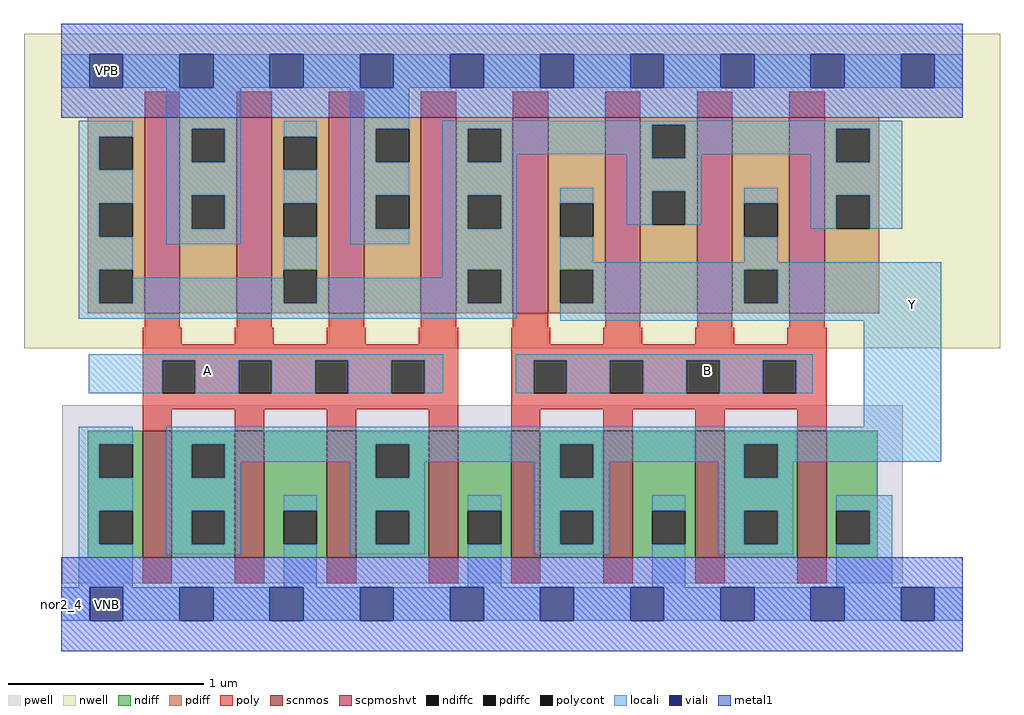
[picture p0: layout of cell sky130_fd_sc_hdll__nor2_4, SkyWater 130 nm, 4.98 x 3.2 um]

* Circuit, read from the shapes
.subckt sky130_fd_sc_hdll__nor2_4 A B VGND VNB VPB VPWR Y
XM1 Y A VGND VNB sky130_fd_pr__nfet_01v8 w=0.65 l=0.15 m=4
XM2 Y B VGND VNB sky130_fd_pr__nfet_01v8 w=0.65 l=0.15 m=4
XM3 VPWR A n1 VPB sky130_fd_pr__pfet_01v8_hvt w=1 l=0.18 m=4
XM4 Y B n1 VPB sky130_fd_pr__pfet_01v8_hvt w=1 l=0.18 m=4
.ends

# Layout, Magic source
magic
tech sky130A
magscale 1 2
<< nwell >>
rect -38 261 958 582
<< pwell >>
rect 1 21 859 203
rect 30 -17 64 21
<< scnmos >>
rect 83 47 113 177
rect 177 47 207 177
rect 271 47 301 177
rect 375 47 405 177
rect 459 47 489 177
rect 553 47 583 177
rect 647 47 677 177
rect 751 47 781 177
<< scpmoshvt >>
rect 85 297 121 497
rect 179 297 215 497
rect 273 297 309 497
rect 367 297 403 497
rect 461 297 497 497
rect 555 297 591 497
rect 649 297 685 497
rect 743 297 779 497
<< ndiff >>
rect 27 163 83 177
rect 27 129 39 163
rect 73 129 83 163
rect 27 95 83 129
rect 27 61 39 95
rect 73 61 83 95
rect 27 47 83 61
rect 113 163 177 177
rect 113 129 133 163
rect 167 129 177 163
rect 113 95 177 129
rect 113 61 133 95
rect 167 61 177 95
rect 113 47 177 61
rect 207 95 271 177
rect 207 61 227 95
rect 261 61 271 95
rect 207 47 271 61
rect 301 163 375 177
rect 301 129 321 163
rect 355 129 375 163
rect 301 95 375 129
rect 301 61 321 95
rect 355 61 375 95
rect 301 47 375 61
rect 405 95 459 177
rect 405 61 415 95
rect 449 61 459 95
rect 405 47 459 61
rect 489 163 553 177
rect 489 129 509 163
rect 543 129 553 163
rect 489 95 553 129
rect 489 61 509 95
rect 543 61 553 95
rect 489 47 553 61
rect 583 95 647 177
rect 583 61 603 95
rect 637 61 647 95
rect 583 47 647 61
rect 677 163 751 177
rect 677 129 697 163
rect 731 129 751 163
rect 677 95 751 129
rect 677 61 697 95
rect 731 61 751 95
rect 677 47 751 61
rect 781 95 833 177
rect 781 61 791 95
rect 825 61 833 95
rect 781 47 833 61
<< pdiff >>
rect 27 477 85 497
rect 27 443 39 477
rect 73 443 85 477
rect 27 409 85 443
rect 27 375 39 409
rect 73 375 85 409
rect 27 341 85 375
rect 27 307 39 341
rect 73 307 85 341
rect 27 297 85 307
rect 121 485 179 497
rect 121 451 133 485
rect 167 451 179 485
rect 121 417 179 451
rect 121 383 133 417
rect 167 383 179 417
rect 121 297 179 383
rect 215 477 273 497
rect 215 443 227 477
rect 261 443 273 477
rect 215 409 273 443
rect 215 375 227 409
rect 261 375 273 409
rect 215 341 273 375
rect 215 307 227 341
rect 261 307 273 341
rect 215 297 273 307
rect 309 485 367 497
rect 309 451 321 485
rect 355 451 367 485
rect 309 417 367 451
rect 309 383 321 417
rect 355 383 367 417
rect 309 297 367 383
rect 403 485 461 497
rect 403 451 415 485
rect 449 451 461 485
rect 403 417 461 451
rect 403 383 415 417
rect 449 383 461 417
rect 403 341 461 383
rect 403 307 415 341
rect 449 307 461 341
rect 403 297 461 307
rect 497 409 555 497
rect 497 375 509 409
rect 543 375 555 409
rect 497 341 555 375
rect 497 307 509 341
rect 543 307 555 341
rect 497 297 555 307
rect 591 489 649 497
rect 591 455 603 489
rect 637 455 649 489
rect 591 421 649 455
rect 591 387 603 421
rect 637 387 649 421
rect 591 297 649 387
rect 685 409 743 497
rect 685 375 697 409
rect 731 375 743 409
rect 685 341 743 375
rect 685 307 697 341
rect 731 307 743 341
rect 685 297 743 307
rect 779 485 835 497
rect 779 451 791 485
rect 825 451 835 485
rect 779 417 835 451
rect 779 383 791 417
rect 825 383 835 417
rect 779 297 835 383
<< ndiffc >>
rect 39 129 73 163
rect 39 61 73 95
rect 133 129 167 163
rect 133 61 167 95
rect 227 61 261 95
rect 321 129 355 163
rect 321 61 355 95
rect 415 61 449 95
rect 509 129 543 163
rect 509 61 543 95
rect 603 61 637 95
rect 697 129 731 163
rect 697 61 731 95
rect 791 61 825 95
<< pdiffc >>
rect 39 443 73 477
rect 39 375 73 409
rect 39 307 73 341
rect 133 451 167 485
rect 133 383 167 417
rect 227 443 261 477
rect 227 375 261 409
rect 227 307 261 341
rect 321 451 355 485
rect 321 383 355 417
rect 415 451 449 485
rect 415 383 449 417
rect 415 307 449 341
rect 509 375 543 409
rect 509 307 543 341
rect 603 455 637 489
rect 603 387 637 421
rect 697 375 731 409
rect 697 307 731 341
rect 791 451 825 485
rect 791 383 825 417
<< poly >>
rect 85 497 121 523
rect 179 497 215 523
rect 273 497 309 523
rect 367 497 403 523
rect 461 497 497 523
rect 555 497 591 523
rect 649 497 685 523
rect 743 497 779 523
rect 85 282 121 297
rect 179 282 215 297
rect 273 282 309 297
rect 367 282 403 297
rect 461 282 497 297
rect 555 282 591 297
rect 649 282 685 297
rect 743 282 779 297
rect 83 265 123 282
rect 177 265 217 282
rect 271 265 311 282
rect 365 265 405 282
rect 83 249 405 265
rect 83 215 103 249
rect 137 215 181 249
rect 215 215 259 249
rect 293 215 337 249
rect 371 215 405 249
rect 83 199 405 215
rect 83 177 113 199
rect 177 177 207 199
rect 271 177 301 199
rect 375 177 405 199
rect 459 265 499 282
rect 553 265 593 282
rect 647 265 687 282
rect 741 265 781 282
rect 459 249 781 265
rect 459 215 482 249
rect 516 215 560 249
rect 594 215 638 249
rect 672 215 716 249
rect 750 215 781 249
rect 459 199 781 215
rect 459 177 489 199
rect 553 177 583 199
rect 647 177 677 199
rect 751 177 781 199
rect 83 21 113 47
rect 177 21 207 47
rect 271 21 301 47
rect 375 21 405 47
rect 459 21 489 47
rect 553 21 583 47
rect 647 21 677 47
rect 751 21 781 47
<< polycont >>
rect 103 215 137 249
rect 181 215 215 249
rect 259 215 293 249
rect 337 215 371 249
rect 482 215 516 249
rect 560 215 594 249
rect 638 215 672 249
rect 716 215 750 249
<< locali >>
rect 0 527 29 561
rect 63 527 121 561
rect 155 527 213 561
rect 247 527 305 561
rect 339 527 397 561
rect 431 527 489 561
rect 523 527 581 561
rect 615 527 673 561
rect 707 527 765 561
rect 799 527 857 561
rect 891 527 920 561
rect 18 477 73 493
rect 18 443 39 477
rect 18 409 73 443
rect 18 375 39 409
rect 18 341 73 375
rect 107 485 183 527
rect 107 451 133 485
rect 167 451 183 485
rect 107 417 183 451
rect 107 383 133 417
rect 167 383 183 417
rect 107 367 183 383
rect 227 477 261 493
rect 227 409 261 443
rect 18 307 39 341
rect 227 341 261 375
rect 295 485 355 527
rect 295 451 321 485
rect 295 417 355 451
rect 295 383 321 417
rect 295 367 355 383
rect 389 489 858 493
rect 389 485 603 489
rect 389 451 415 485
rect 449 459 603 485
rect 449 451 465 459
rect 389 417 465 451
rect 577 455 603 459
rect 637 485 858 489
rect 637 459 791 485
rect 637 455 653 459
rect 389 383 415 417
rect 449 383 465 417
rect 73 307 227 333
rect 389 341 465 383
rect 389 333 415 341
rect 261 307 415 333
rect 449 307 465 341
rect 18 291 465 307
rect 509 409 543 425
rect 577 421 653 455
rect 765 451 791 459
rect 825 451 858 485
rect 577 387 603 421
rect 637 387 653 421
rect 697 409 731 425
rect 509 349 543 375
rect 765 417 858 451
rect 765 383 791 417
rect 825 383 858 417
rect 697 349 731 375
rect 509 341 898 349
rect 543 307 697 341
rect 731 307 898 341
rect 509 289 898 307
rect 28 249 390 255
rect 28 215 103 249
rect 137 215 181 249
rect 215 215 259 249
rect 293 215 337 249
rect 371 215 390 249
rect 464 249 767 255
rect 464 215 482 249
rect 516 215 560 249
rect 594 215 638 249
rect 672 215 716 249
rect 750 215 767 249
rect 819 181 898 289
rect 18 163 73 181
rect 18 129 39 163
rect 18 95 73 129
rect 18 61 39 95
rect 18 17 73 61
rect 107 163 898 181
rect 107 129 133 163
rect 167 145 321 163
rect 167 129 183 145
rect 107 95 183 129
rect 295 129 321 145
rect 355 145 509 163
rect 355 129 371 145
rect 107 61 133 95
rect 167 61 183 95
rect 107 51 183 61
rect 227 95 261 111
rect 227 17 261 61
rect 295 95 371 129
rect 483 129 509 145
rect 543 145 697 163
rect 543 129 559 145
rect 295 61 321 95
rect 355 61 371 95
rect 295 51 371 61
rect 415 95 449 111
rect 415 17 449 61
rect 483 95 559 129
rect 671 129 697 145
rect 731 145 898 163
rect 731 129 747 145
rect 483 61 509 95
rect 543 61 559 95
rect 483 51 559 61
rect 603 95 637 111
rect 603 17 637 61
rect 671 95 747 129
rect 671 61 697 95
rect 731 61 747 95
rect 671 51 747 61
rect 791 95 848 111
rect 825 61 848 95
rect 791 17 848 61
rect 0 -17 29 17
rect 63 -17 121 17
rect 155 -17 213 17
rect 247 -17 305 17
rect 339 -17 397 17
rect 431 -17 489 17
rect 523 -17 581 17
rect 615 -17 673 17
rect 707 -17 765 17
rect 799 -17 857 17
rect 891 -17 920 17
<< viali >>
rect 29 527 63 561
rect 121 527 155 561
rect 213 527 247 561
rect 305 527 339 561
rect 397 527 431 561
rect 489 527 523 561
rect 581 527 615 561
rect 673 527 707 561
rect 765 527 799 561
rect 857 527 891 561
rect 29 -17 63 17
rect 121 -17 155 17
rect 213 -17 247 17
rect 305 -17 339 17
rect 397 -17 431 17
rect 489 -17 523 17
rect 581 -17 615 17
rect 673 -17 707 17
rect 765 -17 799 17
rect 857 -17 891 17
<< metal1 >>
rect 0 561 920 592
rect 0 527 29 561
rect 63 527 121 561
rect 155 527 213 561
rect 247 527 305 561
rect 339 527 397 561
rect 431 527 489 561
rect 523 527 581 561
rect 615 527 673 561
rect 707 527 765 561
rect 799 527 857 561
rect 891 527 920 561
rect 0 496 920 527
rect 0 17 920 48
rect 0 -17 29 17
rect 63 -17 121 17
rect 155 -17 213 17
rect 247 -17 305 17
rect 339 -17 397 17
rect 431 -17 489 17
rect 523 -17 581 17
rect 615 -17 673 17
rect 707 -17 765 17
rect 799 -17 857 17
rect 891 -17 920 17
rect 0 -48 920 -17
<< labels >>
flabel locali s 852 289 886 323 0 FreeSans 400 0 0 0 Y
port 7 nsew signal output
flabel locali s 132 221 166 255 0 FreeSans 400 0 0 0 A
port 1 nsew signal input
flabel locali s 642 221 676 255 0 FreeSans 400 0 0 0 B
port 2 nsew signal input
flabel nwell s 30 527 64 561 0 FreeSans 200 0 0 0 VPB
port 5 nsew power bidirectional
flabel pwell s 30 -17 64 17 0 FreeSans 200 0 0 0 VNB
port 4 nsew ground bidirectional
flabel metal1 s 30 -17 64 17 0 FreeSans 200 0 0 0 VGND
port 3 nsew ground bidirectional
flabel metal1 s 30 527 64 561 0 FreeSans 200 0 0 0 VPWR
port 6 nsew power bidirectional
rlabel comment s 0 0 0 0 4 nor2_4
<< properties >>
string LEFsite unithd
string LEFclass CORE
string FIXED_BBOX 0 0 920 544
string GDS_FILE $PDKPATH/libs.ref/sky130_fd_sc_hdll/gds/sky130_fd_sc_hdll.gds
string LEFsymmetry X Y R90
string GDS_END 2327490
string GDS_START 2320028
string LEFproperties maskLayoutSubType "abstract" prCellType "standard" originalViewName "layout"
<< end >>
